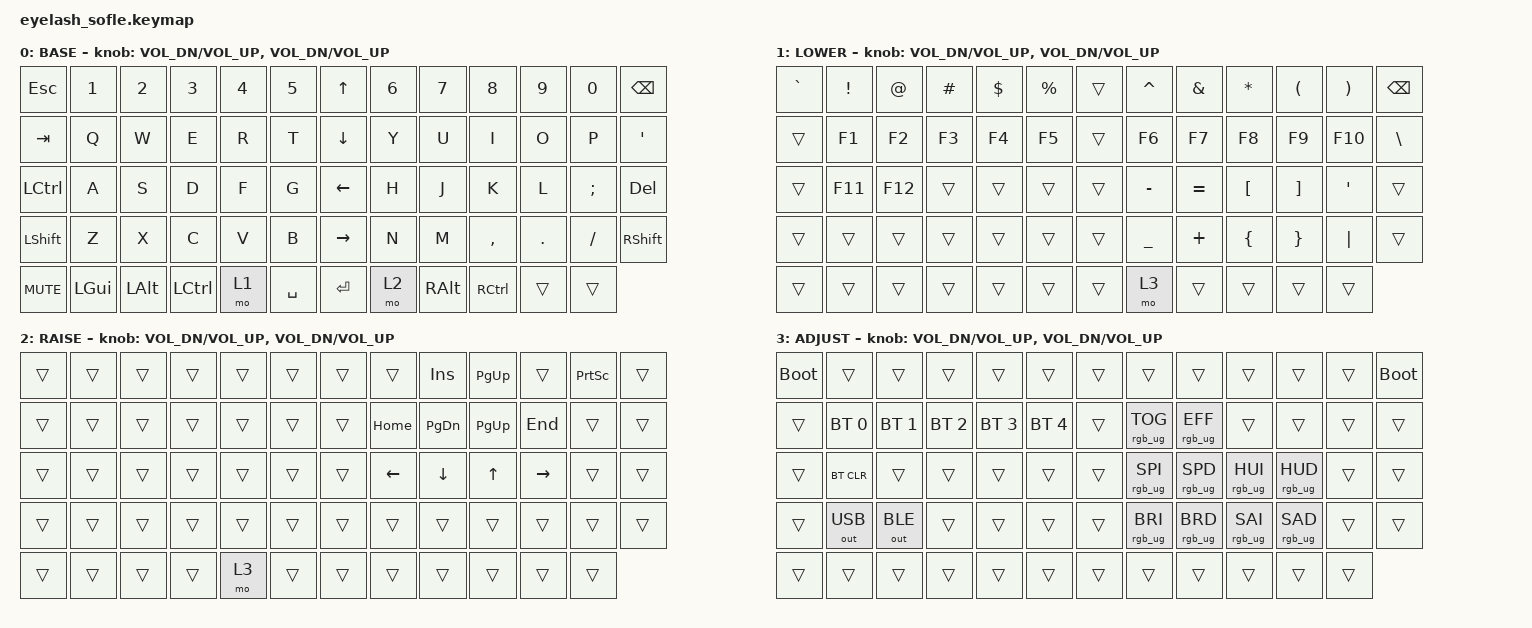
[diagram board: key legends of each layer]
/*
 * eyelash_sofle.keymap
 * Based on DOIO split layout, adapted for Eyelash Sofle J Dongle
 *
 * Layers:
 *   0 = BASE    - Standard QWERTY
 *   1 = LOWER   - Symbols, F1-F6, media
 *   2 = RAISE   - Nav, F7-F12, numrow extras
 *   3 = ADJUST  - BT profiles, RGB, system
 *
 * Key matrix: 13 keys per row (rows 0-3), 12 thumb keys = 64 total
 * Middle column of rows 0-3 = 5-way joystick directions (U/D/L/R/center)
 * Thumb row pos 0 = left encoder press; pos 6 = joystick center press
 */

#include <behaviors.dtsi>
#include <dt-bindings/zmk/keys.h>
#include <dt-bindings/zmk/bt.h>
#include <dt-bindings/zmk/rgb.h>
#include <dt-bindings/zmk/outputs.h>
#include <dt-bindings/zmk/ext_power.h>

/ {
    keymap {
        compatible = "zmk,keymap";

        /* ------------------------------------------------------------------ */
        /* LAYER 0 - BASE                                                      */
        /* ------------------------------------------------------------------ */
        base_layer {
            label = "BASE";
            bindings = <
&kp ESC    &kp N1   &kp N2    &kp N3    &kp N4    &kp N5   &kp UP       &kp N6   &kp N7    &kp N8    &kp N9    &kp N0    &kp BSPC
&kp TAB    &kp Q    &kp W     &kp E     &kp R     &kp T    &kp DOWN     &kp Y    &kp U     &kp I     &kp O     &kp P     &kp SQT
&kp LCTRL  &kp A    &kp S     &kp D     &kp F     &kp G    &kp LEFT     &kp H    &kp J     &kp K     &kp L     &kp SEMI  &kp DEL
&kp LSHFT  &kp Z    &kp X     &kp C     &kp V     &kp B    &kp RIGHT    &kp N    &kp M     &kp COMMA &kp DOT   &kp FSLH  &kp RSHFT
&kp C_MUTE &kp LGUI &kp LALT  &kp LCTRL &mo 1     &kp SPACE &kp RET    &mo 2    &kp RALT  &kp RCTRL &trans    &trans
            >;
            sensor-bindings = <&inc_dec_kp C_VOL_DN C_VOL_UP &inc_dec_kp C_VOL_DN C_VOL_UP>;
        };

        /* ------------------------------------------------------------------ */
        /* LAYER 1 - LOWER (hold left thumb MO key)                           */
        /* ------------------------------------------------------------------ */
        lower_layer {
            label = "LOWER";
            bindings = <
&kp GRAVE  &kp EXCL  &kp AT    &kp HASH  &kp DLLR  &kp PRCNT &trans     &kp CARET &kp AMPS  &kp STAR  &kp LPAR  &kp RPAR  &kp BSPC
&trans     &kp F1    &kp F2    &kp F3    &kp F4    &kp F5    &trans     &kp F6    &kp F7    &kp F8    &kp F9    &kp F10   &kp BSLH
&trans     &kp F11   &kp F12   &trans    &trans    &trans    &trans     &kp MINUS &kp EQUAL &kp LBKT  &kp RBKT  &kp SQT   &trans
&trans     &trans    &trans    &trans    &trans    &trans    &trans     &kp UNDER &kp PLUS  &kp LBRC  &kp RBRC  &kp PIPE  &trans
&trans     &trans    &trans    &trans    &trans    &trans    &trans     &mo 3     &trans    &trans    &trans    &trans
            >;
            sensor-bindings = <&inc_dec_kp C_VOL_DN C_VOL_UP &inc_dec_kp C_VOL_DN C_VOL_UP>;
        };

        /* ------------------------------------------------------------------ */
        /* LAYER 2 - RAISE (hold right thumb MO key)                          */
        /* ------------------------------------------------------------------ */
        raise_layer {
            label = "RAISE";
            bindings = <
&trans  &trans  &trans  &trans  &trans  &trans  &trans  &trans    &kp INS   &kp PG_UP &trans    &kp PSCRN &trans
&trans  &trans  &trans  &trans  &trans  &trans  &trans  &kp HOME  &kp PG_DN &kp PG_UP &kp END   &trans    &trans
&trans  &trans  &trans  &trans  &trans  &trans  &trans  &kp LEFT  &kp DOWN  &kp UP    &kp RIGHT &trans    &trans
&trans  &trans  &trans  &trans  &trans  &trans  &trans  &trans    &trans    &trans    &trans    &trans    &trans
&trans  &trans  &trans  &trans  &mo 3   &trans  &trans  &trans    &trans    &trans    &trans    &trans
            >;
            sensor-bindings = <&inc_dec_kp C_VOL_DN C_VOL_UP &inc_dec_kp C_VOL_DN C_VOL_UP>;
        };

        /* ------------------------------------------------------------------ */
        /* LAYER 3 - ADJUST (LOWER + RAISE together)                          */
        /* ------------------------------------------------------------------ */
        adjust_layer {
            label = "ADJUST";
            bindings = <
&bootloader &trans        &trans        &trans        &trans        &trans        &trans  &trans           &trans           &trans           &trans           &trans  &bootloader
&trans      &bt BT_SEL 0  &bt BT_SEL 1  &bt BT_SEL 2  &bt BT_SEL 3  &bt BT_SEL 4  &trans  &rgb_ug RGB_TOG  &rgb_ug RGB_EFF  &trans           &trans           &trans  &trans
&trans      &bt BT_CLR    &trans        &trans        &trans        &trans        &trans  &rgb_ug RGB_SPI  &rgb_ug RGB_SPD  &rgb_ug RGB_HUI  &rgb_ug RGB_HUD  &trans  &trans
&trans      &out OUT_USB  &out OUT_BLE  &trans        &trans        &trans        &trans  &rgb_ug RGB_BRI  &rgb_ug RGB_BRD  &rgb_ug RGB_SAI  &rgb_ug RGB_SAD  &trans  &trans
&trans      &trans        &trans        &trans        &trans        &trans        &trans  &trans           &trans           &trans           &trans           &trans
            >;
            sensor-bindings = <&inc_dec_kp C_VOL_DN C_VOL_UP &inc_dec_kp C_VOL_DN C_VOL_UP>;
        };
    };
};
